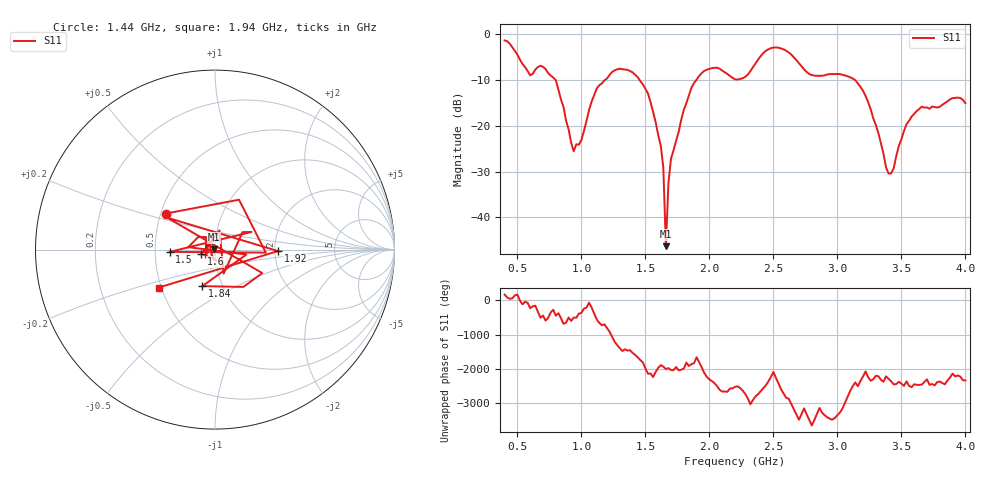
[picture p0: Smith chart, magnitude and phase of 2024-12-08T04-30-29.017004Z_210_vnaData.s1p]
!Created with skrf (http://scikit-rf.org).
# Hz S RI R 50.0
!freq ReS11 ImS11
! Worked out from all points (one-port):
!   181 points, 400 MHz to 4 GHz, reference 50 ohm
!   lowest |S11| = -46.3 dB at 1.66 GHz (marker M1), VSWR 1.01, Z = 49.5 + j0.155 ohm
!   |S11| at or under -10 dB: 798.9 MHz to 1.183 GHz (384.4 MHz wide, 38.8 % of centre); 1.455 GHz to 1.897 GHz (442.2 MHz wide, 26.4 % of centre); 3.138 GHz to end of sweep
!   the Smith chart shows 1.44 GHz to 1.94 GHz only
!   S11 on the Smith chart (normalised r, x): 1.44 GHz: 0.53, +0.24; 1.5 GHz: 0.60, -0.02; 1.6 GHz: 0.86, -0.04; 1.84 GHz: 0.80, -0.34; 1.92 GHz: 2.08, -0.04; 1.94 GHz: 0.49, -0.24
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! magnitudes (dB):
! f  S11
! 400 MHz  -1.4
! 600 MHz  -9.0
! 680 MHz  -6.9
! 800 MHz  -10.0
! 860 MHz  -15.9
! 940 MHz  -25.6
! 1.12 GHz  -11.8
! 1.3 GHz  -7.5
! 1.44 GHz  -9.4
! 1.5 GHz  -11.9
! 1.6 GHz  -22.0
! 1.64 GHz  -29.1
! 1.66 GHz  -46.3
! 1.68 GHz  -32.5
! 1.7 GHz  -27.1
! 1.76 GHz  -21.3
! 1.84 GHz  -13.3
! 1.92 GHz  -9.1
! 1.94 GHz  -8.5
! 2.2 GHz  -9.8
! 2.48 GHz  -3.0
! 2.66 GHz  -5.0
! 2.8 GHz  -8.9
! 3.1 GHz  -9.4
! 3.24 GHz  -14.8
! 3.4 GHz  -30.4
! 3.56 GHz  -18.9
! 4 GHz  -15.1
